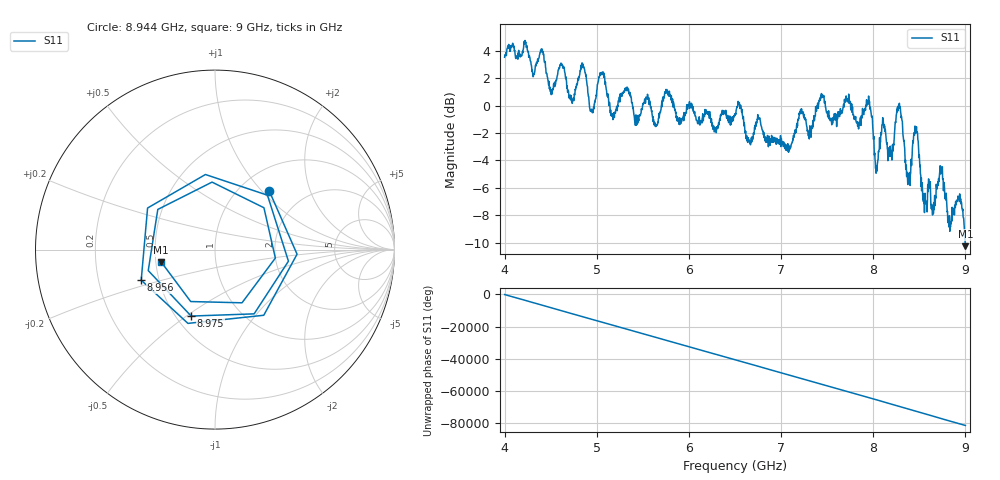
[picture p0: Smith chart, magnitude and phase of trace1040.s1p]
! Created with skrf 1.8.0 (http://scikit-rf.org).
# Hz S RI R 50.0
!freq ReS11 ImS11
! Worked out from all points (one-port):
!   1601 points, 4 GHz to 9 GHz, reference 50 ohm
!   lowest |S11| = -10.3 dB at 9 GHz (marker M1), VSWR 1.89, Z = 26.7 - j4.12 ohm
!   |S11| at or under -10 dB: 8.997789 GHz to end of sweep
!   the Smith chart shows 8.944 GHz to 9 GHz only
!   S11 on the Smith chart (normalised r, x): 8.944 GHz: 1.35, +1.10; 8.956 GHz: 0.40, -0.17; 8.975 GHz: 0.59, -0.52; 9 GHz: 0.53, -0.08
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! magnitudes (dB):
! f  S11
! 4 GHz  3.5
! 4.403 GHz  4.1
! 4.503 GHz  0.9
! 4.625 GHz  2.9
! 4.728 GHz  0.3
! 4.844 GHz  2.8
! 4.944 GHz  -0.3
! 5.053 GHz  2.4
! 5.169 GHz  -0.8
! 5.25 GHz  0.3
! 5.875 GHz  -0.9
! 6.5 GHz  -0.7
! 7.125 GHz  -2.6
! 7.441 GHz  0.7
! 7.75 GHz  0.3
! 7.953 GHz  0.2
! 8.038 GHz  -4.4
! 8.2 GHz  -3.4
! 8.281 GHz  0.1
! 8.375 GHz  -5.8
! 8.462 GHz  -1.6
! 8.562 GHz  -6.4
! 8.734 GHz  -5.0
! 8.828 GHz  -8.4
! 8.944 GHz  -7.0
! 8.956 GHz  -7.0
! 8.975 GHz  -8.1
! 9 GHz  -10.3
